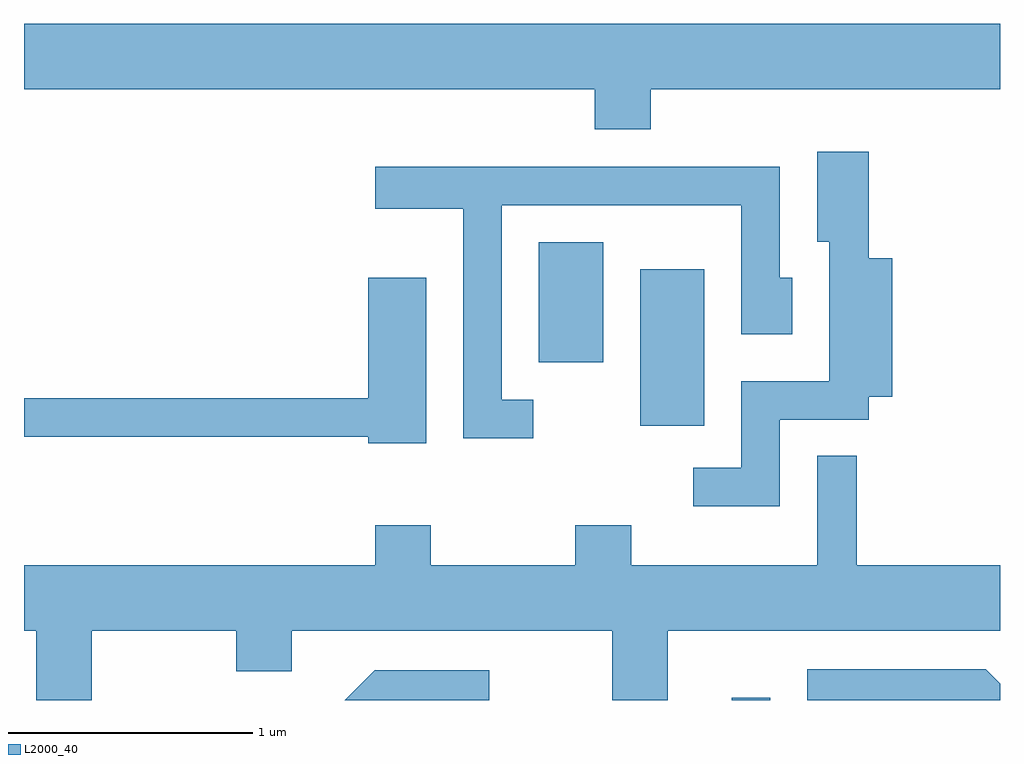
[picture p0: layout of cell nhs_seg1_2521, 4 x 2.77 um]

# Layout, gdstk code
import gdstk
lib = gdstk.Library(unit=1e-6, precision=1e-09)
def R(c, l, rs):  # rectangles x0, y0, x1, y1
    for r in rs: c.add(gdstk.rectangle(r[:2], r[2:], *l))
def P(c, l, *ps):  # polygons
    for p in ps: c.add(gdstk.Polygon(p, *l))
L2000_40 = (2000, 40)

nhs_seg1_2521 = lib.new_cell('nhs_seg1_2521')
R(nhs_seg1_2521, L2000_40, [(264.511,923.712,264.669,923.723), (264.136,924.836,264.399,925.479), (263.721,925.096,263.984,925.589)])
P(nhs_seg1_2521, L2000_40, [(264.179,926.216),(265.611,926.216),(265.611,926.484),(261.611,926.484),(261.611,926.216),(263.951,926.216),(263.951,926.051),(264.179,926.051)],
  [(264.709,924.861),(265.074,924.861),(265.074,924.956),(265.169,924.956),(265.169,925.524),(265.074,925.524),(265.074,925.959),(264.861,925.959),(264.861,925.591),(264.911,925.591),(264.911,925.019),(264.551,925.019),(264.551,924.664),(264.353,924.664),(264.353,924.506),(264.709,924.506)],
  [(263.698,924.944),(263.569,924.944),(263.569,925.741),(264.551,925.741),(264.551,925.211),(264.759,925.211),(264.759,925.444),(264.709,925.444),(264.709,925.899),(263.051,925.899),(263.051,925.726),(263.411,925.726),(263.411,924.786),(263.698,924.786)],
  [(263.259,925.444),(263.021,925.444),(263.021,924.949),(261.611,924.949),(261.611,924.791),(263.021,924.791),(263.021,924.766),(263.259,924.766)],
  [(261.889,923.996),(262.481,923.996),(262.481,923.831),(262.709,923.831),(262.709,923.996),(264.021,923.996),(264.021,923.712),(264.249,923.712),(264.249,923.996),(265.611,923.996),(265.611,924.264),(265.024,924.264),(265.024,924.713),(264.861,924.713),(264.861,924.264),(264.099,924.264),(264.099,924.429),(263.871,924.429),(263.871,924.264),(263.279,924.264),(263.279,924.429),(263.051,924.429),(263.051,924.264),(261.611,924.264),(261.611,923.996),(261.661,923.996),(261.661,923.712),(261.889,923.712)],
  [(265.611,923.78),(265.552,923.839),(264.821,923.839),(264.821,923.712),(265.611,923.712)],
  [(263.518,923.834),(263.049,923.834),(262.926,923.712),(263.518,923.712)])

lib.write_gds('nhs_seg1_2521.gds')
